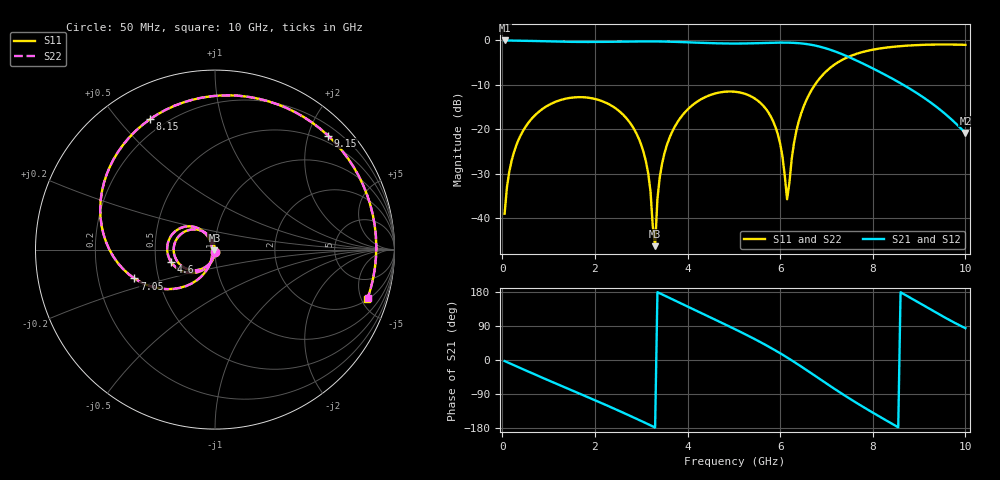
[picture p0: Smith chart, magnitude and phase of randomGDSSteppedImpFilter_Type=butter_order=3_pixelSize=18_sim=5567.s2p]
! freq	dB(S11)	phase(S11)	dB(S12)	phase(S12)
!  dB(S21)	phase(S21)	dB(S22)	phase(S22)
!S-par simulation data
#  GHz  S  DB  R 50
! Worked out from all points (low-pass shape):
!   200 points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, 50 MHz to 10 GHz, reference 50 ohm
!   highest |S21| = 0.00 dB at 50 MHz (marker M1); lowest = -20.8 dB at 10 GHz (marker M2)
!   |S21| within 3 dB of the highest: start of sweep to 7.317 GHz
!   lowest |S11| = -46.3 dB at 3.3 GHz (marker M3), VSWR 1.01, Z = 49.7 - j0.382 ohm
!   |S11| at or under -10 dB: start of sweep to 6.749 GHz
!   |S22| runs from -45.2 to -0.9 dB; largest |S21 - S12| = 0
!   S11 on the Smith chart (normalised r, x): 50 MHz: 1.00, -0.02; 4.6 GHz: 0.60, -0.09; 7.05 GHz: 0.36, -0.15; 8.15 GHz: 0.14, +0.61; 9.15 GHz: 0.37, +2.35; 10 GHz: 2.10, -5.62
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0.05  -38.99 -93.2  -0.00 -2.8  -0.00 -2.8  -38.99 -93.2
0.2  -27.10 -101.3  -0.03 -11.0  -0.03 -11.0  -27.10 -101.3
0.5  -19.46 -117.6  -0.08 -27.2  -0.08 -27.2  -19.46 -117.6
1.75  -12.78 176.3  -0.34 -93.0  -0.34 -93.0  -12.78 176.4
2.9  -21.00 114.9  -0.22 -155.2  -0.22 -155.2  -21.00 115.6
3.15  -29.87 102.3  -0.22 -169.5  -0.22 -169.5  -29.84 104.5
3.3  -46.28 -127.6  -0.22 -178.1  -0.22 -178.1  -45.23 -133.6
3.4  -30.80 -97.4  -0.24 176.1  -0.24 176.1  -30.78 -100.0
3.8  -18.11 -118.3  -0.34 152.7  -0.34 152.7  -18.11 -118.9
4.6  -11.92 -163.9  -0.64 106.2  -0.64 106.2  -11.92 -164.2
5.05  -11.57 170.3  -0.70 79.8  -0.70 79.8  -11.57 170.0
5.85  -18.21 123.5  -0.51 28.5  -0.51 28.5  -18.21 123.1
6.05  -26.12 120.3  -0.48 14.2  -0.48 14.2  -26.14 119.5
6.15  -35.73 172.5  -0.49 6.7  -0.49 6.7  -36.03 171.8
6.35  -20.35 -110.2  -0.57 -8.8  -0.57 -8.8  -20.36 -109.9
6.7  -10.79 -132.5  -1.03 -37.2  -1.03 -37.2  -10.79 -132.4
7.05  -6.44 -160.3  -1.98 -66.1  -1.98 -66.1  -6.44 -160.2
7.6  -3.18 156.8  -4.28 -109.5  -4.28 -109.5  -3.18 156.8
8.15  -1.81 116.6  -7.09 -149.5  -7.09 -149.5  -1.81 116.6
8.35  -1.53 102.3  -8.19 -163.7  -8.19 -163.7  -1.53 102.4
9.15  -0.97 45.2  -13.22 140.3  -13.22 140.3  -0.97 45.4
10  -0.99 -17.8  -20.83 84.1  -20.83 84.1  -0.98 -17.4
